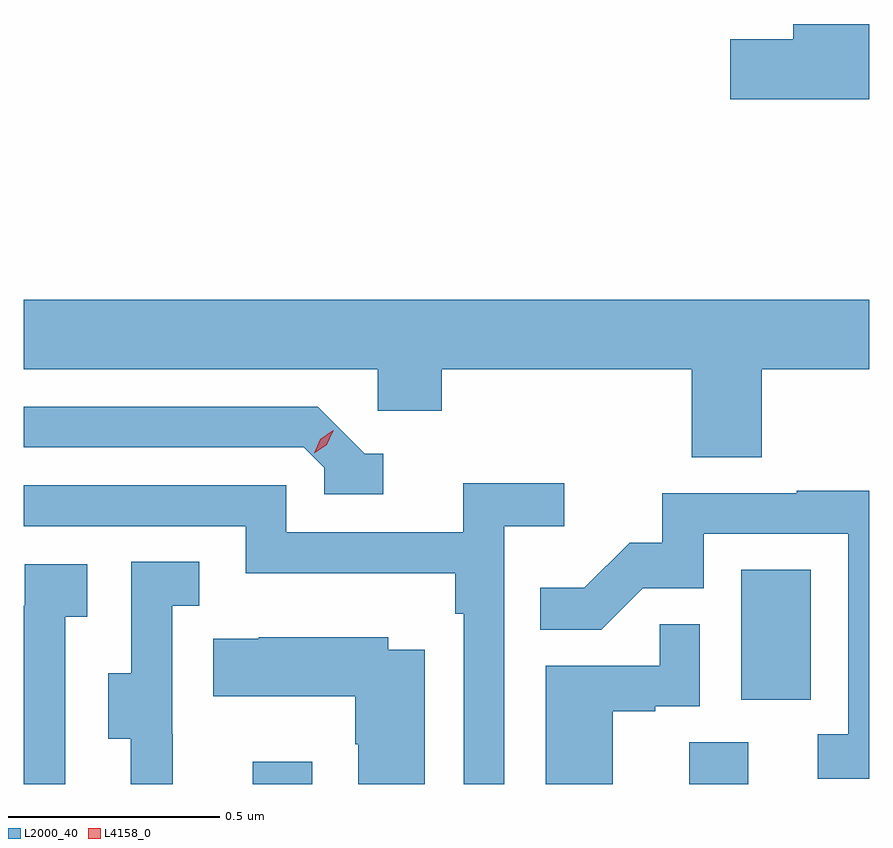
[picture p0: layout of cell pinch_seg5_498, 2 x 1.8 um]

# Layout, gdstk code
import gdstk
lib = gdstk.Library(unit=1e-6, precision=1e-09)
def R(c, l, rs):  # rectangles x0, y0, x1, y1
    for r in rs: c.add(gdstk.rectangle(r[:2], r[2:], *l))
def P(c, l, *ps):  # polygons
    for p in ps: c.add(gdstk.Polygon(p, *l))
L2000_40 = (2000, 40)
L4158_0 = (4158, 0)

pinch_seg5_498 = lib.new_cell('pinch_seg5_498')
R(pinch_seg5_498, L2000_40, [(911.237,835.799,911.377,835.852), (912.269,835.799,912.409,835.898), (912.392,835.998,912.556,836.305)])
P(pinch_seg5_498, L2000_40, [(912.695,837.596),(912.515,837.596),(912.515,837.56),(912.366,837.56),(912.366,837.418),(912.695,837.418)],
  [(912.44,836.78),(912.695,836.78),(912.695,836.944),(910.695,836.944),(910.695,836.78),(911.532,836.78),(911.532,836.682),(911.684,836.682),(911.684,836.78),(912.275,836.78),(912.275,836.572),(912.44,836.572)],
  [(911.545,836.58),(911.502,836.58),(911.391,836.691),(910.695,836.691),(910.695,836.595),(911.358,836.595),(911.406,836.547),(911.406,836.484),(911.545,836.484)],
  [(911.832,836.408),(911.974,836.408),(911.974,836.51),(911.735,836.51),(911.735,836.394),(911.316,836.394),(911.316,836.505),(910.695,836.505),(910.695,836.409),(911.22,836.409),(911.22,836.297),(911.716,836.297),(911.716,836.201),(911.736,836.201),(911.736,835.799),(911.832,835.799)],
  [(912.695,836.492),(912.523,836.492),(912.523,836.487),(912.205,836.487),(912.205,836.37),(912.128,836.37),(912.021,836.263),(911.917,836.263),(911.917,836.164),(912.061,836.164),(912.159,836.262),(912.303,836.262),(912.303,836.391),(912.645,836.391),(912.645,835.917),(912.573,835.917),(912.573,835.812),(912.695,835.812)],
  [(911.048,835.917),(911.046,835.917),(911.046,836.221),(911.11,836.221),(911.11,836.324),(910.95,836.324),(910.95,836.061),(910.895,836.061),(910.895,835.906),(910.949,835.906),(910.949,835.799),(911.048,835.799)],
  [(910.794,836.195),(910.846,836.195),(910.846,836.319),(910.698,836.319),(910.698,836.221),(910.695,836.221),(910.695,835.967),(910.696,835.967),(910.696,835.848),(910.695,835.848),(910.695,835.799),(910.794,835.799)],
  [(912.088,835.971),(912.188,835.971),(912.188,835.983),(912.294,835.983),(912.294,836.177),(912.199,836.177),(912.199,836.079),(911.93,836.079),(911.93,835.799),(912.088,835.799)],
  [(911.644,836.116),(911.557,836.116),(911.557,836.146),(911.251,836.146),(911.251,836.143),(911.143,836.143),(911.143,836.006),(911.479,836.006),(911.479,835.893),(911.486,835.893),(911.486,835.799),(911.644,835.799)])
P(pinch_seg5_498, L4158_0, [(911.382,836.581),(911.382,836.581),(911.397,836.614),(911.427,836.635),(911.427,836.635),(911.427,836.634),(911.412,836.601),(911.382,836.581)])

lib.write_gds('pinch_seg5_498.gds')
